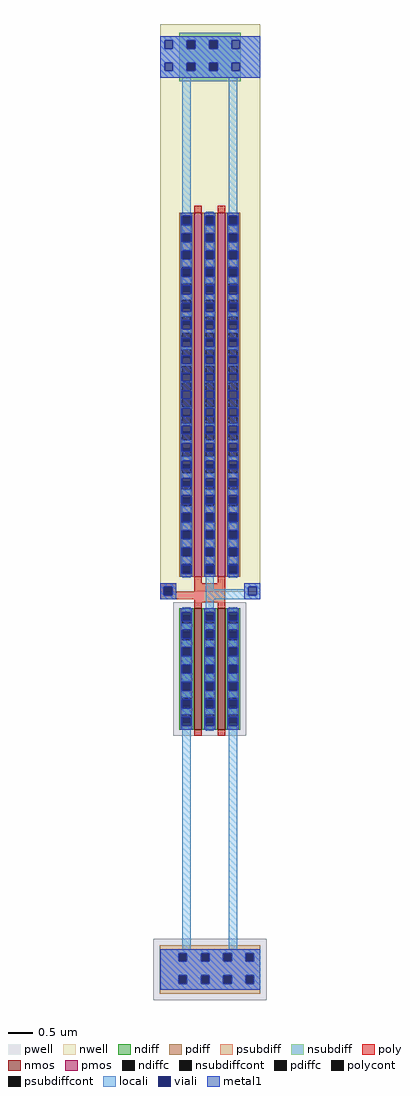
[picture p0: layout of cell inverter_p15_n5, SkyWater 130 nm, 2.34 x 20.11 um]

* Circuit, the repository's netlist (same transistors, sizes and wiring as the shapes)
* NGSPICE file created from inverter_p15_n5.ext - technology: sky130A

.subckt sky130_fd_pr__nfet_01v8_V2VUT3 a_n33_n250# a_n125_n250# a_63_n250# a_n63_n276#
+ VSUBS
X0 a_n33_n250# a_n63_n276# a_n125_n250# VSUBS sky130_fd_pr__nfet_01v8 ad=0.4125 pd=2.83 as=0.775 ps=5.62 w=2.5 l=0.15
X1 a_63_n250# a_n63_n276# a_n33_n250# VSUBS sky130_fd_pr__nfet_01v8 ad=0.775 pd=5.62 as=0.4125 ps=2.83 w=2.5 l=0.15
.ends

.subckt sky130_fd_pr__pfet_01v8_7QKTNL a_n63_n806# a_63_n750# a_n33_n750# w_n161_n812#
+ a_n125_n750#
X0 a_63_n750# a_n63_n806# a_n33_n750# w_n161_n812# sky130_fd_pr__pfet_01v8 ad=2.325 pd=15.62 as=1.2375 ps=7.83 w=7.5 l=0.15
X1 a_n33_n750# a_n63_n806# a_n125_n750# w_n161_n812# sky130_fd_pr__pfet_01v8 ad=1.2375 pd=7.83 as=2.325 ps=15.62 w=7.5 l=0.15
.ends

.subckt inverter_p15_n5 VDPWR Vout Vin VGND
Xsky130_fd_pr__nfet_01v8_V2VUT3_0 Vout VGND VGND Vin VGND sky130_fd_pr__nfet_01v8_V2VUT3
Xsky130_fd_pr__pfet_01v8_7QKTNL_0 Vin VDPWR Vout VDPWR VDPWR sky130_fd_pr__pfet_01v8_7QKTNL
.ends

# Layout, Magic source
magic
tech sky130A
magscale 1 2
<< nwell >>
rect -80 656 334 2996
<< pwell >>
rect -108 -1026 360 -774
<< psubdiff >>
rect -82 -833 334 -800
rect -82 -867 -3 -833
rect 31 -867 89 -833
rect 123 -867 181 -833
rect 215 -867 273 -833
rect 307 -867 334 -833
rect -82 -925 334 -867
rect -82 -959 -3 -925
rect 31 -959 89 -925
rect 123 -959 181 -925
rect 215 -959 273 -925
rect 307 -959 334 -925
rect -82 -1000 334 -959
<< nsubdiff >>
rect 0 2929 252 2960
rect 0 2895 31 2929
rect 65 2895 123 2929
rect 157 2895 252 2929
rect 0 2837 252 2895
rect 0 2803 31 2837
rect 65 2803 123 2837
rect 157 2803 252 2837
rect 0 2760 252 2803
<< psubdiffcont >>
rect -3 -867 31 -833
rect 89 -867 123 -833
rect 181 -867 215 -833
rect 273 -867 307 -833
rect -3 -959 31 -925
rect 89 -959 123 -925
rect 181 -959 215 -925
rect 273 -959 307 -925
<< nsubdiffcont >>
rect 31 2895 65 2929
rect 123 2895 157 2929
rect 31 2803 65 2837
rect 123 2803 157 2837
<< poly >>
rect -80 676 -14 692
rect -80 642 -64 676
rect -30 656 -14 676
rect 62 656 188 662
rect -30 644 188 656
rect -30 642 62 644
rect -80 626 62 642
<< polycont >>
rect -64 642 -30 676
<< locali >>
rect -80 2929 334 2946
rect -80 2895 -61 2929
rect -27 2895 31 2929
rect 65 2895 123 2929
rect 157 2895 215 2929
rect 249 2895 334 2929
rect -80 2837 334 2895
rect -80 2803 -61 2837
rect -27 2803 31 2837
rect 65 2803 123 2837
rect 157 2803 215 2837
rect 249 2803 334 2837
rect -80 2774 334 2803
rect 12 2222 46 2774
rect 204 2222 238 2774
rect -80 676 -14 692
rect -80 642 -64 676
rect -30 642 -14 676
rect -80 626 -14 642
rect 108 666 142 714
rect 268 676 334 692
rect 268 666 284 676
rect 108 642 284 666
rect 318 642 334 676
rect 108 626 334 642
rect 108 592 142 626
rect 12 -816 46 84
rect 204 -816 238 84
rect -80 -833 334 -816
rect -80 -867 -3 -833
rect 31 -867 89 -833
rect 123 -867 181 -833
rect 215 -867 273 -833
rect 307 -867 334 -833
rect -80 -925 334 -867
rect -80 -959 -3 -925
rect 31 -959 89 -925
rect 123 -959 181 -925
rect 215 -959 273 -925
rect 307 -959 334 -925
rect -80 -984 334 -959
<< viali >>
rect -61 2895 -27 2929
rect 31 2895 65 2929
rect 123 2895 157 2929
rect 215 2895 249 2929
rect -61 2803 -27 2837
rect 31 2803 65 2837
rect 123 2803 157 2837
rect 215 2803 249 2837
rect -64 642 -30 676
rect 284 642 318 676
rect -3 -867 31 -833
rect 89 -867 123 -833
rect 181 -867 215 -833
rect 273 -867 307 -833
rect -3 -959 31 -925
rect 89 -959 123 -925
rect 181 -959 215 -925
rect 273 -959 307 -925
<< metal1 >>
rect -80 2929 334 2946
rect -80 2895 -61 2929
rect -27 2895 31 2929
rect 65 2895 123 2929
rect 157 2895 215 2929
rect 249 2895 334 2929
rect -80 2837 334 2895
rect -80 2803 -61 2837
rect -27 2803 31 2837
rect 65 2803 123 2837
rect 157 2803 215 2837
rect 249 2803 334 2837
rect -80 2774 334 2803
rect -80 676 -14 692
rect -80 642 -64 676
rect -30 642 -14 676
rect -80 626 -14 642
rect 268 676 334 692
rect 268 642 284 676
rect 318 642 334 676
rect 268 626 334 642
rect -80 -833 334 -816
rect -80 -867 -3 -833
rect 31 -867 89 -833
rect 123 -867 181 -833
rect 215 -867 273 -833
rect 307 -867 334 -833
rect -80 -925 334 -867
rect -80 -959 -3 -925
rect 31 -959 89 -925
rect 123 -959 181 -925
rect 215 -959 273 -925
rect 307 -959 334 -925
rect -80 -984 334 -959
use sky130_fd_pr__nfet_01v8_V2VUT3  sky130_fd_pr__nfet_01v8_V2VUT3_0
transform 1 0 125 0 1 338
box -151 -276 151 306
use sky130_fd_pr__pfet_01v8_7QKTNL  sky130_fd_pr__pfet_01v8_7QKTNL_0
transform 1 0 125 0 1 1468
box -161 -812 161 812
<< end >>

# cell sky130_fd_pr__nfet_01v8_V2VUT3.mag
magic
tech sky130A
magscale 1 2
<< pwell >>
rect -151 -276 151 276
<< nmos >>
rect -63 -250 -33 250
rect 33 -250 63 250
<< ndiff >>
rect -125 221 -63 250
rect -125 187 -113 221
rect -79 187 -63 221
rect -125 153 -63 187
rect -125 119 -113 153
rect -79 119 -63 153
rect -125 85 -63 119
rect -125 51 -113 85
rect -79 51 -63 85
rect -125 17 -63 51
rect -125 -17 -113 17
rect -79 -17 -63 17
rect -125 -51 -63 -17
rect -125 -85 -113 -51
rect -79 -85 -63 -51
rect -125 -119 -63 -85
rect -125 -153 -113 -119
rect -79 -153 -63 -119
rect -125 -187 -63 -153
rect -125 -221 -113 -187
rect -79 -221 -63 -187
rect -125 -250 -63 -221
rect -33 221 33 250
rect -33 187 -17 221
rect 17 187 33 221
rect -33 153 33 187
rect -33 119 -17 153
rect 17 119 33 153
rect -33 85 33 119
rect -33 51 -17 85
rect 17 51 33 85
rect -33 17 33 51
rect -33 -17 -17 17
rect 17 -17 33 17
rect -33 -51 33 -17
rect -33 -85 -17 -51
rect 17 -85 33 -51
rect -33 -119 33 -85
rect -33 -153 -17 -119
rect 17 -153 33 -119
rect -33 -187 33 -153
rect -33 -221 -17 -187
rect 17 -221 33 -187
rect -33 -250 33 -221
rect 63 221 125 250
rect 63 187 79 221
rect 113 187 125 221
rect 63 153 125 187
rect 63 119 79 153
rect 113 119 125 153
rect 63 85 125 119
rect 63 51 79 85
rect 113 51 125 85
rect 63 17 125 51
rect 63 -17 79 17
rect 113 -17 125 17
rect 63 -51 125 -17
rect 63 -85 79 -51
rect 113 -85 125 -51
rect 63 -119 125 -85
rect 63 -153 79 -119
rect 113 -153 125 -119
rect 63 -187 125 -153
rect 63 -221 79 -187
rect 113 -221 125 -187
rect 63 -250 125 -221
<< ndiffc >>
rect -113 187 -79 221
rect -113 119 -79 153
rect -113 51 -79 85
rect -113 -17 -79 17
rect -113 -85 -79 -51
rect -113 -153 -79 -119
rect -113 -221 -79 -187
rect -17 187 17 221
rect -17 119 17 153
rect -17 51 17 85
rect -17 -17 17 17
rect -17 -85 17 -51
rect -17 -153 17 -119
rect -17 -221 17 -187
rect 79 187 113 221
rect 79 119 113 153
rect 79 51 113 85
rect 79 -17 113 17
rect 79 -85 113 -51
rect 79 -153 113 -119
rect 79 -221 113 -187
<< poly >>
rect -63 276 63 306
rect -63 250 -33 276
rect 33 250 63 276
rect -63 -276 -33 -250
rect 33 -276 63 -250
<< locali >>
rect -113 233 -79 254
rect -113 161 -79 187
rect -113 89 -79 119
rect -113 17 -79 51
rect -113 -51 -79 -17
rect -113 -119 -79 -89
rect -113 -187 -79 -161
rect -113 -254 -79 -233
rect -17 233 17 254
rect -17 161 17 187
rect -17 89 17 119
rect -17 17 17 51
rect -17 -51 17 -17
rect -17 -119 17 -89
rect -17 -187 17 -161
rect -17 -254 17 -233
rect 79 233 113 254
rect 79 161 113 187
rect 79 89 113 119
rect 79 17 113 51
rect 79 -51 113 -17
rect 79 -119 113 -89
rect 79 -187 113 -161
rect 79 -254 113 -233
<< viali >>
rect -113 221 -79 233
rect -113 199 -79 221
rect -113 153 -79 161
rect -113 127 -79 153
rect -113 85 -79 89
rect -113 55 -79 85
rect -113 -17 -79 17
rect -113 -85 -79 -55
rect -113 -89 -79 -85
rect -113 -153 -79 -127
rect -113 -161 -79 -153
rect -113 -221 -79 -199
rect -113 -233 -79 -221
rect -17 221 17 233
rect -17 199 17 221
rect -17 153 17 161
rect -17 127 17 153
rect -17 85 17 89
rect -17 55 17 85
rect -17 -17 17 17
rect -17 -85 17 -55
rect -17 -89 17 -85
rect -17 -153 17 -127
rect -17 -161 17 -153
rect -17 -221 17 -199
rect -17 -233 17 -221
rect 79 221 113 233
rect 79 199 113 221
rect 79 153 113 161
rect 79 127 113 153
rect 79 85 113 89
rect 79 55 113 85
rect 79 -17 113 17
rect 79 -85 113 -55
rect 79 -89 113 -85
rect 79 -153 113 -127
rect 79 -161 113 -153
rect 79 -221 113 -199
rect 79 -233 113 -221
<< metal1 >>
rect -119 233 -73 250
rect -119 199 -113 233
rect -79 199 -73 233
rect -119 161 -73 199
rect -119 127 -113 161
rect -79 127 -73 161
rect -119 89 -73 127
rect -119 55 -113 89
rect -79 55 -73 89
rect -119 17 -73 55
rect -119 -17 -113 17
rect -79 -17 -73 17
rect -119 -55 -73 -17
rect -119 -89 -113 -55
rect -79 -89 -73 -55
rect -119 -127 -73 -89
rect -119 -161 -113 -127
rect -79 -161 -73 -127
rect -119 -199 -73 -161
rect -119 -233 -113 -199
rect -79 -233 -73 -199
rect -119 -250 -73 -233
rect -23 233 23 250
rect -23 199 -17 233
rect 17 199 23 233
rect -23 161 23 199
rect -23 127 -17 161
rect 17 127 23 161
rect -23 89 23 127
rect -23 55 -17 89
rect 17 55 23 89
rect -23 17 23 55
rect -23 -17 -17 17
rect 17 -17 23 17
rect -23 -55 23 -17
rect -23 -89 -17 -55
rect 17 -89 23 -55
rect -23 -127 23 -89
rect -23 -161 -17 -127
rect 17 -161 23 -127
rect -23 -199 23 -161
rect -23 -233 -17 -199
rect 17 -233 23 -199
rect -23 -250 23 -233
rect 73 233 119 250
rect 73 199 79 233
rect 113 199 119 233
rect 73 161 119 199
rect 73 127 79 161
rect 113 127 119 161
rect 73 89 119 127
rect 73 55 79 89
rect 113 55 119 89
rect 73 17 119 55
rect 73 -17 79 17
rect 113 -17 119 17
rect 73 -55 119 -17
rect 73 -89 79 -55
rect 113 -89 119 -55
rect 73 -127 119 -89
rect 73 -161 79 -127
rect 113 -161 119 -127
rect 73 -199 119 -161
rect 73 -233 79 -199
rect 113 -233 119 -199
rect 73 -250 119 -233
<< end >>

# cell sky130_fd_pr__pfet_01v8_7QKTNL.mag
magic
tech sky130A
magscale 1 2
<< nwell >>
rect -161 -812 161 812
<< pmos >>
rect -63 -750 -33 750
rect 33 -750 63 750
<< pdiff >>
rect -125 731 -63 750
rect -125 697 -113 731
rect -79 697 -63 731
rect -125 663 -63 697
rect -125 629 -113 663
rect -79 629 -63 663
rect -125 595 -63 629
rect -125 561 -113 595
rect -79 561 -63 595
rect -125 527 -63 561
rect -125 493 -113 527
rect -79 493 -63 527
rect -125 459 -63 493
rect -125 425 -113 459
rect -79 425 -63 459
rect -125 391 -63 425
rect -125 357 -113 391
rect -79 357 -63 391
rect -125 323 -63 357
rect -125 289 -113 323
rect -79 289 -63 323
rect -125 255 -63 289
rect -125 221 -113 255
rect -79 221 -63 255
rect -125 187 -63 221
rect -125 153 -113 187
rect -79 153 -63 187
rect -125 119 -63 153
rect -125 85 -113 119
rect -79 85 -63 119
rect -125 51 -63 85
rect -125 17 -113 51
rect -79 17 -63 51
rect -125 -17 -63 17
rect -125 -51 -113 -17
rect -79 -51 -63 -17
rect -125 -85 -63 -51
rect -125 -119 -113 -85
rect -79 -119 -63 -85
rect -125 -153 -63 -119
rect -125 -187 -113 -153
rect -79 -187 -63 -153
rect -125 -221 -63 -187
rect -125 -255 -113 -221
rect -79 -255 -63 -221
rect -125 -289 -63 -255
rect -125 -323 -113 -289
rect -79 -323 -63 -289
rect -125 -357 -63 -323
rect -125 -391 -113 -357
rect -79 -391 -63 -357
rect -125 -425 -63 -391
rect -125 -459 -113 -425
rect -79 -459 -63 -425
rect -125 -493 -63 -459
rect -125 -527 -113 -493
rect -79 -527 -63 -493
rect -125 -561 -63 -527
rect -125 -595 -113 -561
rect -79 -595 -63 -561
rect -125 -629 -63 -595
rect -125 -663 -113 -629
rect -79 -663 -63 -629
rect -125 -697 -63 -663
rect -125 -731 -113 -697
rect -79 -731 -63 -697
rect -125 -750 -63 -731
rect -33 731 33 750
rect -33 697 -17 731
rect 17 697 33 731
rect -33 663 33 697
rect -33 629 -17 663
rect 17 629 33 663
rect -33 595 33 629
rect -33 561 -17 595
rect 17 561 33 595
rect -33 527 33 561
rect -33 493 -17 527
rect 17 493 33 527
rect -33 459 33 493
rect -33 425 -17 459
rect 17 425 33 459
rect -33 391 33 425
rect -33 357 -17 391
rect 17 357 33 391
rect -33 323 33 357
rect -33 289 -17 323
rect 17 289 33 323
rect -33 255 33 289
rect -33 221 -17 255
rect 17 221 33 255
rect -33 187 33 221
rect -33 153 -17 187
rect 17 153 33 187
rect -33 119 33 153
rect -33 85 -17 119
rect 17 85 33 119
rect -33 51 33 85
rect -33 17 -17 51
rect 17 17 33 51
rect -33 -17 33 17
rect -33 -51 -17 -17
rect 17 -51 33 -17
rect -33 -85 33 -51
rect -33 -119 -17 -85
rect 17 -119 33 -85
rect -33 -153 33 -119
rect -33 -187 -17 -153
rect 17 -187 33 -153
rect -33 -221 33 -187
rect -33 -255 -17 -221
rect 17 -255 33 -221
rect -33 -289 33 -255
rect -33 -323 -17 -289
rect 17 -323 33 -289
rect -33 -357 33 -323
rect -33 -391 -17 -357
rect 17 -391 33 -357
rect -33 -425 33 -391
rect -33 -459 -17 -425
rect 17 -459 33 -425
rect -33 -493 33 -459
rect -33 -527 -17 -493
rect 17 -527 33 -493
rect -33 -561 33 -527
rect -33 -595 -17 -561
rect 17 -595 33 -561
rect -33 -629 33 -595
rect -33 -663 -17 -629
rect 17 -663 33 -629
rect -33 -697 33 -663
rect -33 -731 -17 -697
rect 17 -731 33 -697
rect -33 -750 33 -731
rect 63 731 125 750
rect 63 697 79 731
rect 113 697 125 731
rect 63 663 125 697
rect 63 629 79 663
rect 113 629 125 663
rect 63 595 125 629
rect 63 561 79 595
rect 113 561 125 595
rect 63 527 125 561
rect 63 493 79 527
rect 113 493 125 527
rect 63 459 125 493
rect 63 425 79 459
rect 113 425 125 459
rect 63 391 125 425
rect 63 357 79 391
rect 113 357 125 391
rect 63 323 125 357
rect 63 289 79 323
rect 113 289 125 323
rect 63 255 125 289
rect 63 221 79 255
rect 113 221 125 255
rect 63 187 125 221
rect 63 153 79 187
rect 113 153 125 187
rect 63 119 125 153
rect 63 85 79 119
rect 113 85 125 119
rect 63 51 125 85
rect 63 17 79 51
rect 113 17 125 51
rect 63 -17 125 17
rect 63 -51 79 -17
rect 113 -51 125 -17
rect 63 -85 125 -51
rect 63 -119 79 -85
rect 113 -119 125 -85
rect 63 -153 125 -119
rect 63 -187 79 -153
rect 113 -187 125 -153
rect 63 -221 125 -187
rect 63 -255 79 -221
rect 113 -255 125 -221
rect 63 -289 125 -255
rect 63 -323 79 -289
rect 113 -323 125 -289
rect 63 -357 125 -323
rect 63 -391 79 -357
rect 113 -391 125 -357
rect 63 -425 125 -391
rect 63 -459 79 -425
rect 113 -459 125 -425
rect 63 -493 125 -459
rect 63 -527 79 -493
rect 113 -527 125 -493
rect 63 -561 125 -527
rect 63 -595 79 -561
rect 113 -595 125 -561
rect 63 -629 125 -595
rect 63 -663 79 -629
rect 113 -663 125 -629
rect 63 -697 125 -663
rect 63 -731 79 -697
rect 113 -731 125 -697
rect 63 -750 125 -731
<< pdiffc >>
rect -113 697 -79 731
rect -113 629 -79 663
rect -113 561 -79 595
rect -113 493 -79 527
rect -113 425 -79 459
rect -113 357 -79 391
rect -113 289 -79 323
rect -113 221 -79 255
rect -113 153 -79 187
rect -113 85 -79 119
rect -113 17 -79 51
rect -113 -51 -79 -17
rect -113 -119 -79 -85
rect -113 -187 -79 -153
rect -113 -255 -79 -221
rect -113 -323 -79 -289
rect -113 -391 -79 -357
rect -113 -459 -79 -425
rect -113 -527 -79 -493
rect -113 -595 -79 -561
rect -113 -663 -79 -629
rect -113 -731 -79 -697
rect -17 697 17 731
rect -17 629 17 663
rect -17 561 17 595
rect -17 493 17 527
rect -17 425 17 459
rect -17 357 17 391
rect -17 289 17 323
rect -17 221 17 255
rect -17 153 17 187
rect -17 85 17 119
rect -17 17 17 51
rect -17 -51 17 -17
rect -17 -119 17 -85
rect -17 -187 17 -153
rect -17 -255 17 -221
rect -17 -323 17 -289
rect -17 -391 17 -357
rect -17 -459 17 -425
rect -17 -527 17 -493
rect -17 -595 17 -561
rect -17 -663 17 -629
rect -17 -731 17 -697
rect 79 697 113 731
rect 79 629 113 663
rect 79 561 113 595
rect 79 493 113 527
rect 79 425 113 459
rect 79 357 113 391
rect 79 289 113 323
rect 79 221 113 255
rect 79 153 113 187
rect 79 85 113 119
rect 79 17 113 51
rect 79 -51 113 -17
rect 79 -119 113 -85
rect 79 -187 113 -153
rect 79 -255 113 -221
rect 79 -323 113 -289
rect 79 -391 113 -357
rect 79 -459 113 -425
rect 79 -527 113 -493
rect 79 -595 113 -561
rect 79 -663 113 -629
rect 79 -731 113 -697
<< poly >>
rect -63 750 -33 780
rect 33 750 63 780
rect -63 -776 -33 -750
rect 33 -776 63 -750
rect -63 -806 63 -776
<< locali >>
rect -113 737 -79 754
rect -113 665 -79 697
rect -113 595 -79 629
rect -113 527 -79 559
rect -113 459 -79 487
rect -113 391 -79 415
rect -113 323 -79 343
rect -113 255 -79 271
rect -113 187 -79 199
rect -113 119 -79 127
rect -113 51 -79 55
rect -113 -55 -79 -51
rect -113 -127 -79 -119
rect -113 -199 -79 -187
rect -113 -271 -79 -255
rect -113 -343 -79 -323
rect -113 -415 -79 -391
rect -113 -487 -79 -459
rect -113 -559 -79 -527
rect -113 -629 -79 -595
rect -113 -697 -79 -665
rect -113 -754 -79 -737
rect -17 737 17 754
rect -17 665 17 697
rect -17 595 17 629
rect -17 527 17 559
rect -17 459 17 487
rect -17 391 17 415
rect -17 323 17 343
rect -17 255 17 271
rect -17 187 17 199
rect -17 119 17 127
rect -17 51 17 55
rect -17 -55 17 -51
rect -17 -127 17 -119
rect -17 -199 17 -187
rect -17 -271 17 -255
rect -17 -343 17 -323
rect -17 -415 17 -391
rect -17 -487 17 -459
rect -17 -559 17 -527
rect -17 -629 17 -595
rect -17 -697 17 -665
rect -17 -754 17 -737
rect 79 737 113 754
rect 79 665 113 697
rect 79 595 113 629
rect 79 527 113 559
rect 79 459 113 487
rect 79 391 113 415
rect 79 323 113 343
rect 79 255 113 271
rect 79 187 113 199
rect 79 119 113 127
rect 79 51 113 55
rect 79 -55 113 -51
rect 79 -127 113 -119
rect 79 -199 113 -187
rect 79 -271 113 -255
rect 79 -343 113 -323
rect 79 -415 113 -391
rect 79 -487 113 -459
rect 79 -559 113 -527
rect 79 -629 113 -595
rect 79 -697 113 -665
rect 79 -754 113 -737
<< viali >>
rect -113 731 -79 737
rect -113 703 -79 731
rect -113 663 -79 665
rect -113 631 -79 663
rect -113 561 -79 593
rect -113 559 -79 561
rect -113 493 -79 521
rect -113 487 -79 493
rect -113 425 -79 449
rect -113 415 -79 425
rect -113 357 -79 377
rect -113 343 -79 357
rect -113 289 -79 305
rect -113 271 -79 289
rect -113 221 -79 233
rect -113 199 -79 221
rect -113 153 -79 161
rect -113 127 -79 153
rect -113 85 -79 89
rect -113 55 -79 85
rect -113 -17 -79 17
rect -113 -85 -79 -55
rect -113 -89 -79 -85
rect -113 -153 -79 -127
rect -113 -161 -79 -153
rect -113 -221 -79 -199
rect -113 -233 -79 -221
rect -113 -289 -79 -271
rect -113 -305 -79 -289
rect -113 -357 -79 -343
rect -113 -377 -79 -357
rect -113 -425 -79 -415
rect -113 -449 -79 -425
rect -113 -493 -79 -487
rect -113 -521 -79 -493
rect -113 -561 -79 -559
rect -113 -593 -79 -561
rect -113 -663 -79 -631
rect -113 -665 -79 -663
rect -113 -731 -79 -703
rect -113 -737 -79 -731
rect -17 731 17 737
rect -17 703 17 731
rect -17 663 17 665
rect -17 631 17 663
rect -17 561 17 593
rect -17 559 17 561
rect -17 493 17 521
rect -17 487 17 493
rect -17 425 17 449
rect -17 415 17 425
rect -17 357 17 377
rect -17 343 17 357
rect -17 289 17 305
rect -17 271 17 289
rect -17 221 17 233
rect -17 199 17 221
rect -17 153 17 161
rect -17 127 17 153
rect -17 85 17 89
rect -17 55 17 85
rect -17 -17 17 17
rect -17 -85 17 -55
rect -17 -89 17 -85
rect -17 -153 17 -127
rect -17 -161 17 -153
rect -17 -221 17 -199
rect -17 -233 17 -221
rect -17 -289 17 -271
rect -17 -305 17 -289
rect -17 -357 17 -343
rect -17 -377 17 -357
rect -17 -425 17 -415
rect -17 -449 17 -425
rect -17 -493 17 -487
rect -17 -521 17 -493
rect -17 -561 17 -559
rect -17 -593 17 -561
rect -17 -663 17 -631
rect -17 -665 17 -663
rect -17 -731 17 -703
rect -17 -737 17 -731
rect 79 731 113 737
rect 79 703 113 731
rect 79 663 113 665
rect 79 631 113 663
rect 79 561 113 593
rect 79 559 113 561
rect 79 493 113 521
rect 79 487 113 493
rect 79 425 113 449
rect 79 415 113 425
rect 79 357 113 377
rect 79 343 113 357
rect 79 289 113 305
rect 79 271 113 289
rect 79 221 113 233
rect 79 199 113 221
rect 79 153 113 161
rect 79 127 113 153
rect 79 85 113 89
rect 79 55 113 85
rect 79 -17 113 17
rect 79 -85 113 -55
rect 79 -89 113 -85
rect 79 -153 113 -127
rect 79 -161 113 -153
rect 79 -221 113 -199
rect 79 -233 113 -221
rect 79 -289 113 -271
rect 79 -305 113 -289
rect 79 -357 113 -343
rect 79 -377 113 -357
rect 79 -425 113 -415
rect 79 -449 113 -425
rect 79 -493 113 -487
rect 79 -521 113 -493
rect 79 -561 113 -559
rect 79 -593 113 -561
rect 79 -663 113 -631
rect 79 -665 113 -663
rect 79 -731 113 -703
rect 79 -737 113 -731
<< metal1 >>
rect -119 737 -73 750
rect -119 703 -113 737
rect -79 703 -73 737
rect -119 665 -73 703
rect -119 631 -113 665
rect -79 631 -73 665
rect -119 593 -73 631
rect -119 559 -113 593
rect -79 559 -73 593
rect -119 521 -73 559
rect -119 487 -113 521
rect -79 487 -73 521
rect -119 449 -73 487
rect -119 415 -113 449
rect -79 415 -73 449
rect -119 377 -73 415
rect -119 343 -113 377
rect -79 343 -73 377
rect -119 305 -73 343
rect -119 271 -113 305
rect -79 271 -73 305
rect -119 233 -73 271
rect -119 199 -113 233
rect -79 199 -73 233
rect -119 161 -73 199
rect -119 127 -113 161
rect -79 127 -73 161
rect -119 89 -73 127
rect -119 55 -113 89
rect -79 55 -73 89
rect -119 17 -73 55
rect -119 -17 -113 17
rect -79 -17 -73 17
rect -119 -55 -73 -17
rect -119 -89 -113 -55
rect -79 -89 -73 -55
rect -119 -127 -73 -89
rect -119 -161 -113 -127
rect -79 -161 -73 -127
rect -119 -199 -73 -161
rect -119 -233 -113 -199
rect -79 -233 -73 -199
rect -119 -271 -73 -233
rect -119 -305 -113 -271
rect -79 -305 -73 -271
rect -119 -343 -73 -305
rect -119 -377 -113 -343
rect -79 -377 -73 -343
rect -119 -415 -73 -377
rect -119 -449 -113 -415
rect -79 -449 -73 -415
rect -119 -487 -73 -449
rect -119 -521 -113 -487
rect -79 -521 -73 -487
rect -119 -559 -73 -521
rect -119 -593 -113 -559
rect -79 -593 -73 -559
rect -119 -631 -73 -593
rect -119 -665 -113 -631
rect -79 -665 -73 -631
rect -119 -703 -73 -665
rect -119 -737 -113 -703
rect -79 -737 -73 -703
rect -119 -750 -73 -737
rect -23 737 23 750
rect -23 703 -17 737
rect 17 703 23 737
rect -23 665 23 703
rect -23 631 -17 665
rect 17 631 23 665
rect -23 593 23 631
rect -23 559 -17 593
rect 17 559 23 593
rect -23 521 23 559
rect -23 487 -17 521
rect 17 487 23 521
rect -23 449 23 487
rect -23 415 -17 449
rect 17 415 23 449
rect -23 377 23 415
rect -23 343 -17 377
rect 17 343 23 377
rect -23 305 23 343
rect -23 271 -17 305
rect 17 271 23 305
rect -23 233 23 271
rect -23 199 -17 233
rect 17 199 23 233
rect -23 161 23 199
rect -23 127 -17 161
rect 17 127 23 161
rect -23 89 23 127
rect -23 55 -17 89
rect 17 55 23 89
rect -23 17 23 55
rect -23 -17 -17 17
rect 17 -17 23 17
rect -23 -55 23 -17
rect -23 -89 -17 -55
rect 17 -89 23 -55
rect -23 -127 23 -89
rect -23 -161 -17 -127
rect 17 -161 23 -127
rect -23 -199 23 -161
rect -23 -233 -17 -199
rect 17 -233 23 -199
rect -23 -271 23 -233
rect -23 -305 -17 -271
rect 17 -305 23 -271
rect -23 -343 23 -305
rect -23 -377 -17 -343
rect 17 -377 23 -343
rect -23 -415 23 -377
rect -23 -449 -17 -415
rect 17 -449 23 -415
rect -23 -487 23 -449
rect -23 -521 -17 -487
rect 17 -521 23 -487
rect -23 -559 23 -521
rect -23 -593 -17 -559
rect 17 -593 23 -559
rect -23 -631 23 -593
rect -23 -665 -17 -631
rect 17 -665 23 -631
rect -23 -703 23 -665
rect -23 -737 -17 -703
rect 17 -737 23 -703
rect -23 -750 23 -737
rect 73 737 119 750
rect 73 703 79 737
rect 113 703 119 737
rect 73 665 119 703
rect 73 631 79 665
rect 113 631 119 665
rect 73 593 119 631
rect 73 559 79 593
rect 113 559 119 593
rect 73 521 119 559
rect 73 487 79 521
rect 113 487 119 521
rect 73 449 119 487
rect 73 415 79 449
rect 113 415 119 449
rect 73 377 119 415
rect 73 343 79 377
rect 113 343 119 377
rect 73 305 119 343
rect 73 271 79 305
rect 113 271 119 305
rect 73 233 119 271
rect 73 199 79 233
rect 113 199 119 233
rect 73 161 119 199
rect 73 127 79 161
rect 113 127 119 161
rect 73 89 119 127
rect 73 55 79 89
rect 113 55 119 89
rect 73 17 119 55
rect 73 -17 79 17
rect 113 -17 119 17
rect 73 -55 119 -17
rect 73 -89 79 -55
rect 113 -89 119 -55
rect 73 -127 119 -89
rect 73 -161 79 -127
rect 113 -161 119 -127
rect 73 -199 119 -161
rect 73 -233 79 -199
rect 113 -233 119 -199
rect 73 -271 119 -233
rect 73 -305 79 -271
rect 113 -305 119 -271
rect 73 -343 119 -305
rect 73 -377 79 -343
rect 113 -377 119 -343
rect 73 -415 119 -377
rect 73 -449 79 -415
rect 113 -449 119 -415
rect 73 -487 119 -449
rect 73 -521 79 -487
rect 113 -521 119 -487
rect 73 -559 119 -521
rect 73 -593 79 -559
rect 113 -593 119 -559
rect 73 -631 119 -593
rect 73 -665 79 -631
rect 113 -665 119 -631
rect 73 -703 119 -665
rect 73 -737 79 -703
rect 113 -737 119 -703
rect 73 -750 119 -737
<< end >>
